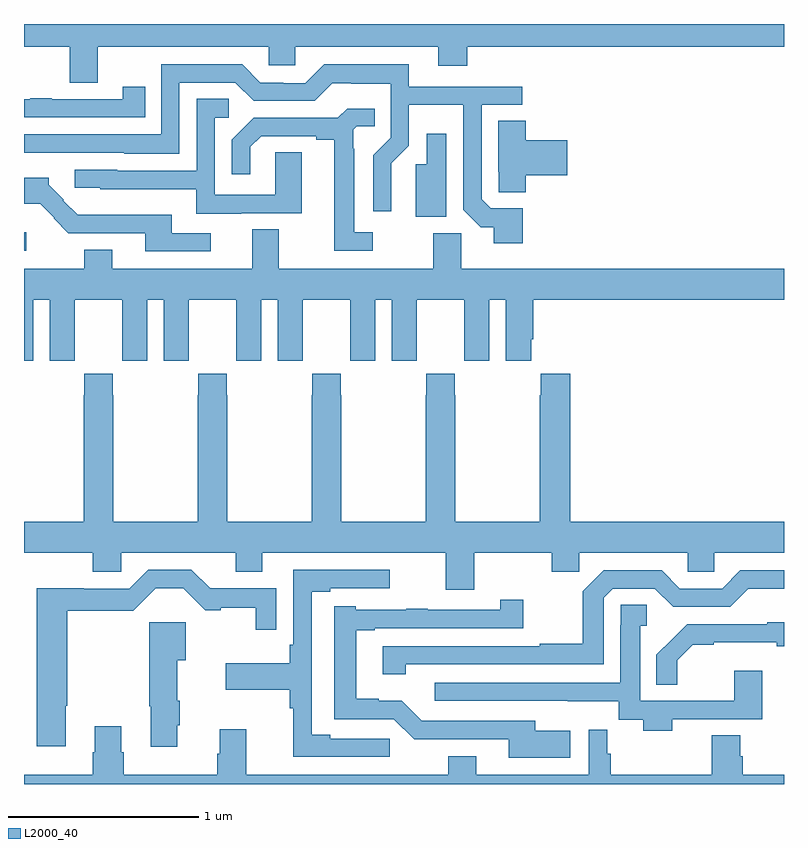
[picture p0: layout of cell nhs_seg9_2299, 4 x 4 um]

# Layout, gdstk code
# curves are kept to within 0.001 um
import gdstk
lib = gdstk.Library(unit=1e-6, precision=1e-09)
def R(c, l, rs):  # rectangles x0, y0, x1, y1
    for r in rs: c.add(gdstk.rectangle(r[:2], r[2:], *l))
def P(c, l, *ps):  # polygons
    for p in ps: c.add(gdstk.Polygon(p, *l))
L2000_40 = (2000, 40)

nhs_seg9_2299 = lib.new_cell('nhs_seg9_2299')
R(nhs_seg9_2299, L2000_40, [(241,1235.307,241.012,1235.404)])
P(nhs_seg9_2299, L2000_40, [(241.389,1236.38),(242.289,1236.38),(242.289,1236.282),(242.427,1236.282),(242.427,1236.38),(243.179,1236.38),(243.179,1236.281),(243.332,1236.281),(243.332,1236.38),(245,1236.38),(245,1236.5),(241,1236.5),(241,1236.38),(241.241,1236.38),(241.241,1236.19),(241.389,1236.19)],
  [(243.626,1235.529),(243.456,1235.529),(243.408,1235.577),(243.408,1236.075),(243.622,1236.075),(243.622,1236.171),(243.025,1236.171),(243.025,1236.289),(242.581,1236.289),(242.481,1236.189),(242.364,1236.189),(242.364,1236.192),(242.244,1236.192),(242.148,1236.288),(241.722,1236.288),(241.722,1235.919),(241,1235.919),(241,1235.822),(241.527,1235.823),(241.527,1235.816),(241.818,1235.816),(241.818,1236.192),(242.112,1236.192),(242.208,1236.096),(242.529,1236.096),(242.622,1236.189),(242.722,1236.189),(242.722,1236.185),(242.931,1236.185),(242.931,1235.901),(242.838,1235.808),(242.838,1235.514),(242.934,1235.514),(242.933,1235.766),(243.024,1235.858),(243.024,1236.074),(243.312,1236.074),(243.312,1235.523),(243.405,1235.431),(243.473,1235.431),(243.473,1235.346),(243.626,1235.346)],
  [(241.637,1236.169),(241.519,1236.169),(241.519,1236.105),(241.145,1236.105),(241.145,1236.11),(241.033,1236.11),(241.033,1236.105),(241,1236.105),(241,1236.009),(241.637,1236.009)],
  [(242.143,1235.505),(242.461,1235.505),(242.461,1235.825),(242.322,1235.825),(242.322,1235.601),(242.004,1235.601),(242.004,1236.006),(242.077,1236.006),(242.077,1236.107),(241.908,1236.107),(241.908,1235.727),(241.491,1235.727),(241.491,1235.733),(241.266,1235.733),(241.266,1235.637),(241.401,1235.637),(241.401,1235.63),(241.907,1235.63),(241.907,1235.501),(242.143,1235.501)],
  [(242.836,1235.403),(242.737,1235.403),(242.737,1235.843),(242.733,1235.843),(242.733,1235.943),(242.751,1235.961),(242.846,1235.961),(242.846,1236.053),(242.7,1236.053),(242.652,1236.006),(242.21,1236.006),(242.094,1235.89),(242.094,1235.709),(242.191,1235.709),(242.191,1235.853),(242.248,1235.91),(242.537,1235.91),(242.537,1235.89),(242.633,1235.89),(242.633,1235.307),(242.836,1235.307)],
  [(243.641,1235.705),(243.859,1235.705),(243.859,1235.888),(243.641,1235.888),(243.641,1235.99),(243.497,1235.99),(243.497,1235.722),(243.498,1235.722),(243.498,1235.614),(243.641,1235.614)],
  [(243.223,1235.923),(243.119,1235.923),(243.119,1235.763),(243.062,1235.763),(243.062,1235.485),(243.223,1235.485)],
  [(241.984,1235.4),(241.777,1235.4),(241.777,1235.497),(241.384,1235.497),(241.384,1235.495),(241.283,1235.495),(241.206,1235.571),(241.209,1235.574),(241.13,1235.653),(241.13,1235.692),(241,1235.692),(241,1235.553),(241.085,1235.553),(241.159,1235.479),(241.157,1235.477),(241.233,1235.4),(241.637,1235.4),(241.637,1235.304),(241.984,1235.304)],
  [(241.048,1235.048),(241.136,1235.048),(241.136,1234.728),(241.266,1234.728),(241.266,1234.84),(241.267,1234.84),(241.267,1235.048),(241.517,1235.048),(241.517,1234.84),(241.518,1234.84),(241.518,1234.728),(241.648,1234.728),(241.648,1235.048),(241.736,1235.048),(241.736,1234.728),(241.866,1234.728),(241.866,1234.84),(241.867,1234.84),(241.867,1235.048),(242.117,1235.048),(242.117,1234.84),(242.118,1234.84),(242.118,1234.728),(242.248,1234.728),(242.248,1235.048),(242.336,1235.048),(242.336,1234.728),(242.466,1234.728),(242.466,1234.84),(242.467,1234.84),(242.467,1235.048),(242.717,1235.048),(242.717,1234.84),(242.718,1234.84),(242.718,1234.728),(242.848,1234.728),(242.848,1235.048),(242.936,1235.048),(242.936,1234.728),(243.066,1234.728),(243.066,1234.84),(243.067,1234.84),(243.067,1235.048),(243.317,1235.048),(243.317,1234.84),(243.318,1234.84),(243.318,1234.728),(243.448,1234.728),(243.448,1235.048),(243.536,1235.048),(243.536,1234.728),(243.67,1234.728),(243.67,1234.84),(243.68,1234.84),(243.68,1235.048),(245,1235.048),(245,1235.212),(243.3,1235.212),(243.3,1235.4),(243.154,1235.4),(243.154,1235.212),(242.341,1235.212),(242.341,1235.42),(242.201,1235.42),(242.201,1235.212),(241.465,1235.212),(241.465,1235.311),(241.318,1235.311),(241.318,1235.212),(241,1235.212),(241,1234.728),(241.048,1234.728)],
  [(243.778,1233.618),(243.923,1233.618),(243.923,1233.716),(244.494,1233.716),(244.494,1233.618),(244.632,1233.618),(244.632,1233.716),(245,1233.716),(245,1233.88),(243.875,1233.88),(243.875,1234.66),(243.721,1234.66),(243.721,1234.547),(243.715,1234.547),(243.715,1233.88),(243.27,1233.88),(243.27,1234.547),(243.267,1234.547),(243.267,1234.66),(243.117,1234.66),(243.117,1234.547),(243.115,1234.547),(243.115,1233.88),(242.67,1233.88),(242.67,1234.547),(242.667,1234.547),(242.667,1234.66),(242.517,1234.66),(242.517,1234.547),(242.515,1234.547),(242.515,1233.88),(242.07,1233.88),(242.07,1234.547),(242.067,1234.547),(242.067,1234.66),(241.917,1234.66),(241.917,1234.547),(241.915,1234.547),(241.915,1233.88),(241.47,1233.88),(241.47,1234.547),(241.467,1234.547),(241.467,1234.66),(241.317,1234.66),(241.317,1234.547),(241.315,1234.547),(241.315,1233.88),(241,1233.88),(241,1233.716),(241.361,1233.716),(241.361,1233.618),(241.512,1233.618),(241.512,1233.716),(242.114,1233.716),(242.114,1233.617),(242.254,1233.617),(242.254,1233.716),(243.221,1233.716),(243.221,1233.522),(243.369,1233.522),(243.369,1233.716),(243.778,1233.716)],
  [(241.219,1232.912),(241.227,1232.912),(241.227,1233.412),(241.576,1233.412),(241.694,1233.53),(241.839,1233.53),(241.954,1233.415),(242.035,1233.415),(242.035,1233.427),(242.22,1233.427),(242.22,1233.312),(242.328,1233.312),(242.328,1233.53),(241.979,1233.53),(241.881,1233.627),(241.653,1233.627),(241.554,1233.528),(241.315,1233.528),(241.315,1233.53),(241.067,1233.53),(241.067,1232.7),(241.219,1232.7)],
  [(242.926,1232.739),(242.611,1232.739),(242.611,1232.759),(242.514,1232.759),(242.514,1233.513),(242.611,1233.513),(242.611,1233.531),(242.926,1233.531),(242.926,1233.627),(242.418,1233.627),(242.418,1233.232),(242.398,1233.232),(242.398,1233.136),(242.061,1233.136),(242.061,1232.996),(242.398,1232.996),(242.398,1232.9),(242.416,1232.9),(242.416,1232.643),(242.926,1232.643)],
  [(243.009,1233.129),(244.05,1233.129),(244.05,1233.48),(244.098,1233.528),(244.32,1233.528),(244.416,1233.432),(244.716,1233.432),(244.811,1233.527),(245,1233.527),(245,1233.624),(244.77,1233.624),(244.674,1233.528),(244.452,1233.528),(244.356,1233.624),(244.05,1233.624),(243.942,1233.515),(243.942,1233.238),(243.715,1233.238),(243.715,1233.225),(242.889,1233.225),(242.889,1233.078),(243.009,1233.078)],
  [(243.874,1232.779),(243.691,1232.779),(243.691,1232.832),(243.093,1232.832),(242.987,1232.938),(242.868,1232.938),(242.868,1232.95),(242.749,1232.95),(242.749,1233.309),(242.845,1233.309),(242.845,1233.321),(243.628,1233.321),(243.628,1233.469),(243.507,1233.469),(243.507,1233.417),(243.125,1233.417),(243.125,1233.422),(243.013,1233.422),(243.013,1233.417),(242.745,1233.417),(242.745,1233.436),(242.633,1233.436),(242.633,1232.841),(242.946,1232.841),(243.053,1232.735),(243.551,1232.736),(243.551,1232.639),(243.874,1232.639)],
  [(244.412,1232.841),(244.885,1232.841),(244.885,1233.097),(244.738,1233.097),(244.738,1232.939),(244.495,1232.939),(244.495,1232.937),(244.243,1232.937),(244.243,1233.332),(244.278,1233.332),(244.278,1233.443),(244.14,1233.443),(244.14,1233.335),(244.139,1233.335),(244.139,1233.033),(243.162,1233.033),(243.162,1232.937),(243.861,1232.937),(243.861,1232.936),(244.13,1232.936),(244.13,1232.837),(244.259,1232.837),(244.259,1232.78),(244.412,1232.78)],
  [(244.438,1233.151),(244.521,1233.234),(244.63,1233.234),(244.63,1233.245),(244.961,1233.245),(244.961,1233.226),(245,1233.226),(245,1233.352),(244.911,1233.352),(244.911,1233.342),(244.49,1233.342),(244.411,1233.263),(244.412,1233.262),(244.328,1233.179),(244.328,1233.022),(244.438,1233.022)],
  [(241.807,1232.809),(241.82,1232.809),(241.82,1232.939),(241.807,1232.939),(241.807,1233.152),(241.852,1233.152),(241.852,1233.352),(241.66,1233.352),(241.66,1232.909),(241.667,1232.909),(241.667,1232.697),(241.807,1232.697)],
  [(245,1232.548),(244.784,1232.548),(244.784,1232.646),(244.771,1232.646),(244.771,1232.756),(244.619,1232.756),(244.619,1232.548),(244.088,1232.548),(244.088,1232.658),(244.069,1232.658),(244.069,1232.785),(243.972,1232.785),(243.972,1232.548),(243.379,1232.548),(243.379,1232.647),(243.232,1232.647),(243.232,1232.548),(242.17,1232.548),(242.17,1232.788),(242.03,1232.788),(242.03,1232.66),(242.018,1232.66),(242.018,1232.548),(241.526,1232.548),(241.526,1232.667),(241.513,1232.667),(241.513,1232.803),(241.373,1232.803),(241.373,1232.667),(241.361,1232.667),(241.361,1232.548),(241,1232.548),(241,1232.5),(245,1232.5)])

lib.write_gds('nhs_seg9_2299.gds')
